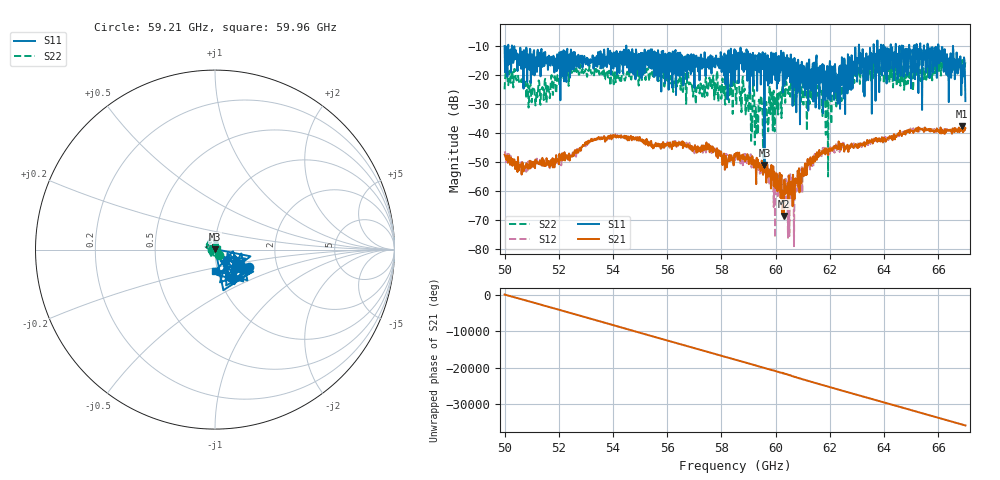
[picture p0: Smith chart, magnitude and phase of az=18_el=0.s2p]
!Created with skrf (http://scikit-rf.org).
# GHz S RI R 50.0
!freq ReS11 ImS11 ReS21 ImS21 ReS12 ImS12 ReS22 ImS22
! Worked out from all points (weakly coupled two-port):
!   1001 points, 50 GHz to 67 GHz, reference 50 ohm
!   highest |S21| = -37.58 dB at 66.88 GHz (marker M1); lowest = -68.7 dB at 60.3 GHz (marker M2)
!   lowest |S11| = -51.1 dB at 59.59 GHz (marker M3), VSWR 1.01, Z = 50.2 + j0.23 ohm
!   |S11| at or under -10 dB: 50.27 GHz to 54.49 GHz (4.215 GHz wide, 8.05 % of centre); 54.49 GHz to 63.07 GHz (8.583 GHz wide, 14.6 % of centre); 63.08 GHz to 63.62 GHz (538.6 MHz wide, 0.85 % of centre) (the widest 3 of 22)
!   |S22| runs from -55.1 to -14.1 dB; largest |S21 - S12| = 0.0025
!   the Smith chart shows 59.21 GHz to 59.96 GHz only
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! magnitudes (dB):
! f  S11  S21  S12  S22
! 50 GHz  -9.9  -47.6  -46.4  -24.9
! 50.42 GHz  -14.1  -50.5  -51.8  -21.5
! 51.07 GHz  -12.0  -51.6  -51.8  -24.2
! 52.84 GHz  -14.2  -44.9  -44.7  -19.2
! 54.1 GHz  -17.0  -41.1  -41.1  -22.5
! 55.68 GHz  -13.4  -44.2  -44.6  -22.1
! 57 GHz  -24.5  -45.4  -47.1  -22.2
! 58.5 GHz  -22.6  -48.0  -49.6  -24.0
! 59.59 GHz  -51.1  -52.7  -52.9  -30.9
! 60.3 GHz  -15.2  -68.7  -66.5  -24.2
! 60.76 GHz  -32.9  -57.2  -58.6  -27.8
! 61.34 GHz  -24.7  -50.2  -49.7  -25.4
! 62 GHz  -15.1  -45.3  -47.2  -24.7
! 62.04 GHz  -18.1  -46.0  -45.5  -30.8
! 62.6 GHz  -19.9  -45.2  -44.5  -19.3
! 63.01 GHz  -22.3  -44.8  -44.3  -20.2
! 63.33 GHz  -22.0  -43.4  -43.2  -19.1
! 63.69 GHz  -28.9  -41.7  -42.2  -16.3
! 64.18 GHz  -18.0  -41.9  -41.4  -18.6
! 66.08 GHz  -15.0  -38.1  -39.3  -15.7
! 66.88 GHz  -22.7  -37.6  -38.5  -14.8
! 67 GHz  -29.0  -38.3  -38.8  -15.6
